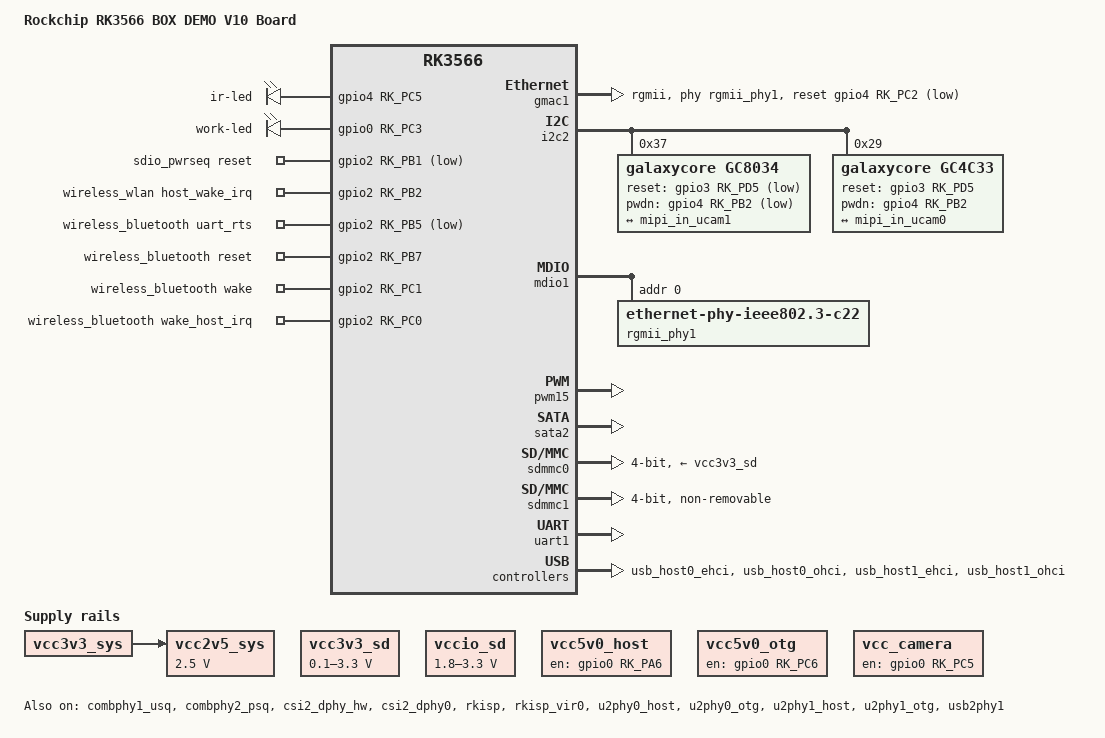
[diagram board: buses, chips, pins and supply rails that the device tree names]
// SPDX-License-Identifier: (GPL-2.0+ OR MIT)
/*
 * Copyright (c) 2021 Rockchip Electronics Co., Ltd.
 *
 */

/dts-v1/;

#include "rk3566-box.dtsi"

/ {
	model = "Rockchip RK3566 BOX DEMO V10 Board";
	compatible = "rockchip,rk3568-box-demo-v10", "rockchip,rk3566";

	gpio-leds {
		compatible = "gpio-leds";

		ir-led {
			gpios = <&gpio4 RK_PC5 GPIO_ACTIVE_HIGH>;
			default-state = "off";
		};

		work-led {
			gpios = <&gpio0 RK_PC3 GPIO_ACTIVE_HIGH>;
			linux,default-trigger = "timer";
		};
	};

	vcc2v5_sys: vcc2v5-ddr {
		compatible = "regulator-fixed";
		regulator-name = "vcc2v5-sys";
		regulator-always-on;
		regulator-boot-on;
		regulator-min-microvolt = <2500000>;
		regulator-max-microvolt = <2500000>;
		vin-supply = <&vcc3v3_sys>;
	};

	sdio_pwrseq: sdio-pwrseq {
		compatible = "mmc-pwrseq-simple";
		clocks = <&pmucru CLK_RTC_32K>;
		clock-names = "ext_clock";
		pinctrl-names = "default";
		pinctrl-0 = <&wifi_enable_h &wifi_32k>;
		reset-gpios = <&gpio2 RK_PB1 GPIO_ACTIVE_LOW>;
	};

	vcc3v3_sd: vcc3v3-sd-regulator {
		compatible = "regulator-gpio";
		regulator-name = "vcc3v3_sd";
		regulator-min-microvolt = <100000>;
		regulator-max-microvolt = <3300000>;
		gpios = <&gpio0 RK_PA5 GPIO_ACTIVE_HIGH>;
		gpios-states = <0x1>;
		states = <100000 0x1
			  3300000 0x0>;
	};

	vccio_sd: vccio-sd-regulator {
		compatible = "regulator-gpio";
		regulator-name = "vccio_sd";
		regulator-min-microvolt = <1800000>;
		regulator-max-microvolt = <3300000>;
		gpios = <&gpio0 RK_PB6 GPIO_ACTIVE_HIGH>;
		gpios-states = <0x1>;
		states = <1800000 0x0
			  3300000 0x1>;
	};

	vcc5v0_host: vcc5v0-host-regulator {
		compatible = "regulator-fixed";
		enable-active-high;
		gpio = <&gpio0 RK_PA6 GPIO_ACTIVE_HIGH>;
		pinctrl-names = "default";
		pinctrl-0 = <&vcc5v0_host_en>;
		regulator-name = "vcc5v0_host";
		regulator-always-on;
	};

	vcc5v0_otg: vcc5v0-otg-regulator {
		compatible = "regulator-fixed";
		enable-active-high;
		gpio = <&gpio0 RK_PC6 GPIO_ACTIVE_HIGH>;
		pinctrl-names = "default";
		pinctrl-0 = <&vcc5v0_otg_en>;
		regulator-name = "vcc5v0_otg";
	};

	vcc_camera: vcc-camera-regulator {
		compatible = "regulator-fixed";
		gpio = <&gpio0 RK_PC5 GPIO_ACTIVE_HIGH>;
		pinctrl-names = "default";
		pinctrl-0 = <&camera_pwr>;
		regulator-name = "vcc_camera";
		enable-active-high;
		regulator-always-on;
		regulator-boot-on;
	};

	wireless_wlan: wireless-wlan {
		compatible = "wlan-platdata";
		rockchip,grf = <&grf>;
		wifi_chip_type = "ap6398s";
		pinctrl-names = "default";
		pinctrl-0 = <&wifi_host_wake_irq>;
		WIFI,host_wake_irq = <&gpio2 RK_PB2 GPIO_ACTIVE_HIGH>;
		status = "okay";
	};

	wireless_bluetooth: wireless-bluetooth {
		compatible = "bluetooth-platdata";
		clocks = <&pmucru CLK_RTC_32K>;
		clock-names = "ext_clock";
		//wifi-bt-power-toggle;
		uart_rts_gpios = <&gpio2 RK_PB5 GPIO_ACTIVE_LOW>;
		pinctrl-names = "default", "rts_gpio";
		pinctrl-0 = <&uart1m0_rtsn>;
		pinctrl-1 = <&uart1_gpios>;
		BT,reset_gpio    = <&gpio2 RK_PB7 GPIO_ACTIVE_HIGH>;
		BT,wake_gpio     = <&gpio2 RK_PC1 GPIO_ACTIVE_HIGH>;
		BT,wake_host_irq = <&gpio2 RK_PC0 GPIO_ACTIVE_HIGH>;
		status = "okay";
	};
};

&combphy1_usq {
	assigned-clocks = <&pmucru CLK_PCIEPHY1_REF>;
	assigned-clock-rates = <100000000>;
	status = "okay";
};

&combphy2_psq {
	status = "okay";
};

&csi2_dphy_hw {
	status = "okay";
};

&csi2_dphy0 {
	status = "okay";

	ports {
		#address-cells = <1>;
		#size-cells = <0>;
		port@0 {
			reg = <0>;
			#address-cells = <1>;
			#size-cells = <0>;

			mipi_in_ucam0: endpoint@1 {
				reg = <1>;
				remote-endpoint = <&gc4c33_out>;
				data-lanes = <1 2>;
			};

			mipi_in_ucam1: endpoint@2 {
				reg = <2>;
				remote-endpoint = <&gc8034_out>;
				data-lanes = <1 2 3 4>;
			};
		};

		port@1 {
			reg = <1>;
			#address-cells = <1>;
			#size-cells = <0>;

			csidphy_out: endpoint@1 {
				reg = <1>;
				remote-endpoint = <&isp0_in>;
			};
		};
	};
};

&gmac1 {
	phy-mode = "rgmii";
	clock_in_out = "input";

	snps,reset-gpio = <&gpio4 RK_PC2 GPIO_ACTIVE_LOW>;
	snps,reset-active-low;
	/* Reset time is 20ms, 100ms for rtl8211f */
	snps,reset-delays-us = <0 20000 100000>;

	assigned-clocks = <&cru SCLK_GMAC1_RX_TX>, <&cru SCLK_GMAC1>;
	assigned-clock-parents =  <&cru SCLK_GMAC1_RGMII_SPEED>, <&gmac1_clkin>;

	pinctrl-names = "default";
	pinctrl-0 = <&gmac1m1_miim
		     &gmac1m1_tx_bus2
		     &gmac1m1_rx_bus2
		     &gmac1m1_rgmii_clk
		     &gmac1m1_rgmii_bus
		     &gmac1m1_clkinout>;

	tx_delay = <0x4f>;
	rx_delay = <0x2d>;

	phy-handle = <&rgmii_phy1>;
	status = "okay";
};

&i2c2{
	status = "okay";
	pinctrl-names = "default";
	pinctrl-0 = <&i2c2m1_xfer>;

	gc8034: gc8034@37 {
		status = "okay";
		compatible = "galaxycore,gc8034";
		reg = <0x37>;
		clocks = <&cru CLK_CIF_OUT>;
		clock-names = "xvclk";
		power-domains = <&power RK3568_PD_VI>;
		pinctrl-names = "default";
		pinctrl-0 = <&cif_clk>;
		/*pwren-gpios = <&gpio0 RK_PC5 GPIO_ACTIVE_HIGH>;*/
		reset-gpios = <&gpio3 RK_PD5 GPIO_ACTIVE_LOW>;
		pwdn-gpios = <&gpio4 RK_PB2 GPIO_ACTIVE_LOW>;
		rockchip,camera-module-index = <0>;
		rockchip,camera-module-facing = "back";
		rockchip,camera-module-name = "RK-CMK-8M-2-v1";
		rockchip,camera-module-lens-name = "CK8401";
		port {
			gc8034_out: endpoint {
				remote-endpoint = <&mipi_in_ucam1>;
				data-lanes = <1 2 3 4>;
			};
		};
	};

	gc4c33: gc4c33@29 {
		status = "okay";
		compatible = "galaxycore,gc4c33";
		reg = <0x29>;
		clocks = <&cru CLK_CIF_OUT>;
		clock-names = "xvclk";
		power-domains = <&power RK3568_PD_VI>;
		pinctrl-names = "default";
		pinctrl-0 = <&cif_clk>;
		/*pwren-gpios = <&gpio0 RK_PC5 GPIO_ACTIVE_HIGH>;*/
		reset-gpios = <&gpio3 RK_PD5 GPIO_ACTIVE_HIGH>;
		pwdn-gpios = <&gpio4 RK_PB2 GPIO_ACTIVE_HIGH>;
		rockchip,camera-module-index = <0>;
		rockchip,camera-module-facing = "back";
		rockchip,camera-module-name = "PCORW0009A";
		rockchip,camera-module-lens-name = "40IRC-4M";
		port {
			gc4c33_out: endpoint {
				remote-endpoint = <&mipi_in_ucam0>;
				data-lanes = <1 2>;
			};
		};
	};
};

&mdio1 {
	rgmii_phy1: phy@0 {
		compatible = "ethernet-phy-ieee802.3-c22";
		reg = <0x0>;
	};
};

&pwm15 {
	compatible = "rockchip,remotectl-pwm";
	pinctrl-names = "default";
	pinctrl-0 = <&pwm15m1_pins>;
	remote_pwm_id = <3>;
	handle_cpu_id = <1>;
	remote_support_psci = <0>;
	status = "okay";

	ir_key1 {
		rockchip,usercode = <0x4040>;
		rockchip,key_table =
			<0xf2	KEY_REPLY>,
			<0xba	KEY_BACK>,
			<0xf4	KEY_UP>,
			<0xf1	KEY_DOWN>,
			<0xef	KEY_LEFT>,
			<0xee	KEY_RIGHT>,
			<0xbd	KEY_HOME>,
			<0xea	KEY_VOLUMEUP>,
			<0xe3	KEY_VOLUMEDOWN>,
			<0xe2	KEY_SEARCH>,
			<0xb2	KEY_POWER>,
			<0xbc	KEY_MUTE>,
			<0xec	KEY_MENU>,
			<0xbf	0x190>,
			<0xe0	0x191>,
			<0xe1	0x192>,
			<0xe9	183>,
			<0xe6	248>,
			<0xe8	185>,
			<0xe7	186>,
			<0xf0	388>,
			<0xbe	0x175>;
	};

	ir_key2 {
		rockchip,usercode = <0xff00>;
		rockchip,key_table =
			<0xf9	KEY_HOME>,
			<0xbf	KEY_BACK>,
			<0xfb	KEY_MENU>,
			<0xaa	KEY_REPLY>,
			<0xb9	KEY_UP>,
			<0xe9	KEY_DOWN>,
			<0xb8	KEY_LEFT>,
			<0xea	KEY_RIGHT>,
			<0xeb	KEY_VOLUMEDOWN>,
			<0xef	KEY_VOLUMEUP>,
			<0xf7	KEY_MUTE>,
			<0xe7	KEY_POWER>,
			<0xfc	KEY_POWER>,
			<0xa9	KEY_VOLUMEDOWN>,
			<0xa8	KEY_PLAYPAUSE>,
			<0xe0	KEY_VOLUMEDOWN>,
			<0xa5	KEY_VOLUMEDOWN>,
			<0xab	183>,
			<0xb7	388>,
			<0xe8	388>,
			<0xf8	184>,
			<0xaf	185>,
			<0xed	KEY_VOLUMEDOWN>,
			<0xee	186>,
			<0xb3	KEY_VOLUMEDOWN>,
			<0xf1	KEY_VOLUMEDOWN>,
			<0xf2	KEY_VOLUMEDOWN>,
			<0xf3	KEY_SEARCH>,
			<0xb4	KEY_VOLUMEDOWN>,
			<0xa4	KEY_SETUP>,
			<0xbe	KEY_SEARCH>;
	};

	ir_key3 {
		rockchip,usercode = <0x1dcc>;
		rockchip,key_table =
			<0xee	KEY_REPLY>,
			<0xf0	KEY_BACK>,
			<0xf8	KEY_UP>,
			<0xbb	KEY_DOWN>,
			<0xef	KEY_LEFT>,
			<0xed	KEY_RIGHT>,
			<0xfc	KEY_HOME>,
			<0xf1	KEY_VOLUMEUP>,
			<0xfd	KEY_VOLUMEDOWN>,
			<0xb7	KEY_SEARCH>,
			<0xff	KEY_POWER>,
			<0xf3	KEY_MUTE>,
			<0xbf	KEY_MENU>,
			<0xf9	0x191>,
			<0xf5	0x192>,
			<0xb3	388>,
			<0xbe	KEY_1>,
			<0xba	KEY_2>,
			<0xb2	KEY_3>,
			<0xbd	KEY_4>,
			<0xf9	KEY_5>,
			<0xb1	KEY_6>,
			<0xfc	KEY_7>,
			<0xf8	KEY_8>,
			<0xb0	KEY_9>,
			<0xb6	KEY_0>,
			<0xb5	KEY_BACKSPACE>;
	};
};

/* Need to be modified according to the actual hardware */
&pmu_io_domains {
	status = "okay";
	pmuio2-supply = <&vcc_3v3>;
	vccio1-supply = <&vcc_3v3>;
	vccio3-supply = <&vcc_3v3>;
	vccio4-supply = <&vcc_3v3>;
	vccio5-supply = <&vcc_3v3>;
	vccio6-supply = <&vcc_3v3>;
	vccio7-supply = <&vcc_3v3>;
};

&rkisp {
	status = "okay";
};

&rkisp_mmu {
	status = "okay";
};

&rkisp_vir0 {
	status = "okay";

	port {
		#address-cells = <1>;
		#size-cells = <0>;

		isp0_in: endpoint@0 {
			reg = <0>;
			remote-endpoint = <&csidphy_out>;
		};
	};
};

&sata2 {
	status = "okay";
};

&sdmmc0 {
	max-frequency = <50000000>;
	no-sdio;
	no-mmc;
	bus-width = <4>;
	cap-mmc-highspeed;
	cap-sd-highspeed;
	disable-wp;
	//sd-uhs-sdr104;
	vmmc-supply = <&vcc3v3_sd>;
	vqmmc-supply = <&vccio_sd>;
	pinctrl-names = "default";
	pinctrl-0 = <&sdmmc0_bus4 &sdmmc0_clk &sdmmc0_cmd &sdmmc0_det>;
	status = "okay";
};

&sdmmc1 {
	max-frequency = <150000000>;
	no-sd;
	no-mmc;
	bus-width = <4>;
	disable-wp;
	cap-sd-highspeed;
	cap-sdio-irq;
	keep-power-in-suspend;
	non-removable;
	mmc-pwrseq = <&sdio_pwrseq>;
	pinctrl-names = "default";
	pinctrl-0 = <&sdmmc1_bus4 &sdmmc1_cmd &sdmmc1_clk>;
	sd-uhs-sdr104;
	status = "okay";
};

&uart1 {
	status = "okay";
	pinctrl-names = "default";
	pinctrl-0 = <&uart1m0_xfer &uart1m0_ctsn>;
};

&u2phy0_host {
	phy-supply = <&vcc5v0_host>;
	status = "okay";
};

&u2phy0_otg {
	vbus-supply = <&vcc5v0_otg>;
	status = "okay";
};

&u2phy1_host {
	phy-supply = <&vcc5v0_host>;
	status = "okay";
};

&u2phy1_otg {
	phy-supply = <&vcc5v0_host>;
	status = "okay";
};

&usb2phy1 {
	status = "okay";
};

&usb_host0_ehci {
	status = "okay";
};

&usb_host0_ohci {
	status = "okay";
};

&usb_host1_ehci {
	status = "okay";
};

&usb_host1_ohci {
	status = "okay";
};

&pinctrl {
	cam {
		camera_pwr: camera-pwr {
			rockchip,pins =
				/* camera power en */
				<0 RK_PC5 RK_FUNC_GPIO &pcfg_pull_none>;
		};
	};

	sdio-pwrseq {
		wifi_enable_h: wifi-enable-h {
			rockchip,pins = <2 RK_PB1 RK_FUNC_GPIO &pcfg_pull_none>;
		};

		wifi_32k: wifi-32k {
			rockchip,pins = <2 RK_PC6 1 &pcfg_pull_none>;
		};
	};

	usb {
		vcc5v0_host_en: vcc5v0-host-en {
			rockchip,pins = <0 RK_PA6 RK_FUNC_GPIO &pcfg_pull_none>;
		};

		vcc5v0_otg_en: vcc5v0-otg-en {
			rockchip,pins = <0 RK_PC6 RK_FUNC_GPIO &pcfg_pull_none>;
		};

	};

	wireless-wlan {
		wifi_host_wake_irq: wifi-host-wake-irq {
			rockchip,pins = <2 RK_PB2 RK_FUNC_GPIO &pcfg_pull_down>;
		};
	};

	wireless-bluetooth {
		uart1_gpios: uart1-gpios {
			rockchip,pins = <2 RK_PB5 RK_FUNC_GPIO &pcfg_pull_none>;
		};
	};
};
